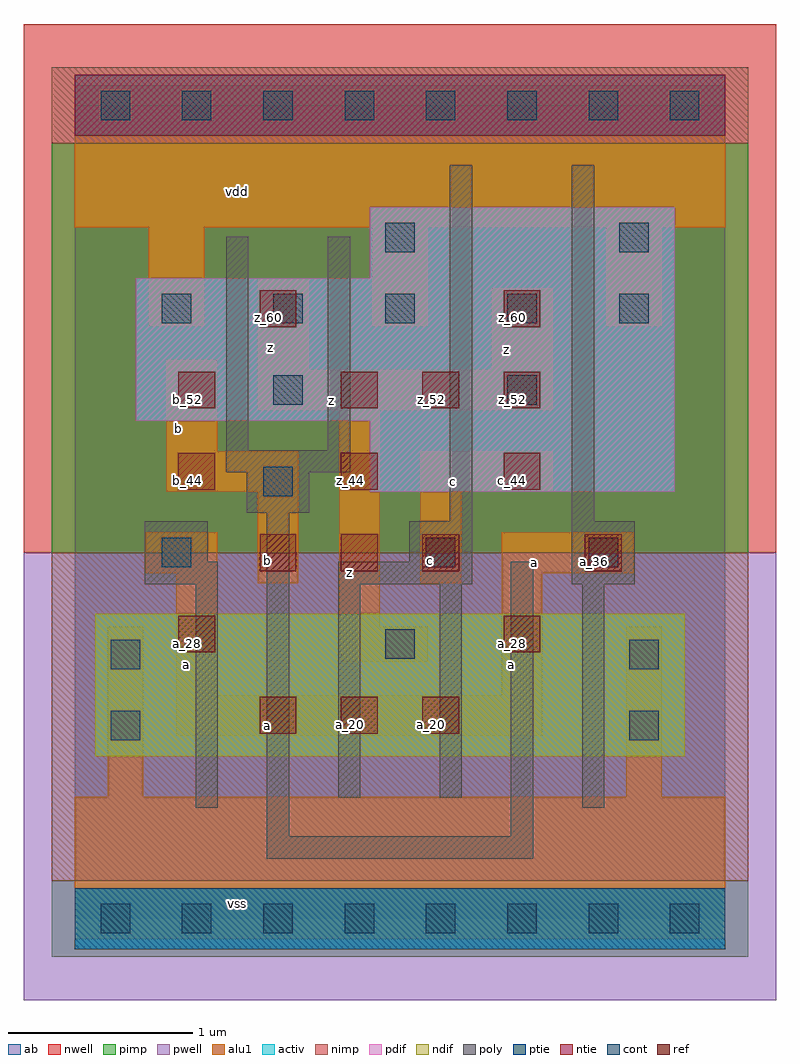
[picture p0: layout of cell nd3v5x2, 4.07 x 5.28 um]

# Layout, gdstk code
import gdstk
lib = gdstk.Library(unit=1e-6, precision=2.5e-09)
def R(c, l, rs):  # rectangles x0, y0, x1, y1
    for r in rs: c.add(gdstk.rectangle(r[:2], r[2:], *l))
def A(c, l, x, y, w, h, nx, ny, dx, dy):  # array of equal rectangles
    R(c, l, [(x+i*dx, y+j*dy, x+i*dx+w, y+j*dy+h) for i in range(nx) for j in range(ny)])
ndif = (3, 0)
pdif = (4, 0)
ntie = (5, 0)
ptie = (6, 0)
ref = (24, 0)
cont = (25, 0)
pwell = (41, 0)
nwell = (42, 0)
activ = (43, 0)
pimp = (44, 0)
nimp = (45, 0)
poly = (46, 0)
alu1 = (49, 0)
ab = (63, 0)

nd3v5x2 = lib.new_cell('nd3v5x2')
R(nd3v5x2, ndif, [(0.11,0.88,3.3,1.65)])
R(nd3v5x2, pdif, [(1.595,2.31,3.245,2.695), (0.33,2.695,3.245,3.465), (1.595,3.465,3.245,3.85)])
R(nd3v5x2, ntie, [(0,4.235,3.52,4.565)])
R(nd3v5x2, ptie, [(0,-0.165,3.52,0.165)])
A(nd3v5x2, ref, 1, 1, 0.2, 0.2, 3, 2, 0.44, 0.88)
A(nd3v5x2, ref, 0.56, 2.32, 0.2, 0.2, 3, 1, 0.88, 0)
A(nd3v5x2, ref, 1.44, 2.76, 0.2, 0.2, 3, 1, 0.44, 0)
R(nd3v5x2, ref, [(0.56,1.44,0.76,1.64), (2.32,1.44,2.52,1.64), (2.76,1.88,2.96,2.08), (0.56,2.76,0.76,2.96), (1,3.2,1.2,3.4), (2.32,3.2,2.52,3.4)])
A(nd3v5x2, cont, 0.14, -0.08, 0.16, 0.16, 8, 2, 0.44, 4.4)
A(nd3v5x2, cont, 0.47, 3.22, 0.16, 0.16, 3, 1, 0.605, 0)
R(nd3v5x2, cont, [(0.195,0.965,0.355,1.125), (3,0.965,3.16,1.125), (0.195,1.35,0.355,1.51), (3,1.35,3.16,1.51), (1.68,1.405,1.84,1.565), (0.47,1.9,0.63,2.06), (1.9,1.9,2.06,2.06), (2.78,1.9,2.94,2.06), (1.02,2.285,1.18,2.445), (1.075,2.78,1.235,2.94), (2.34,2.78,2.5,2.94), (2.34,3.22,2.5,3.38), (2.945,3.22,3.105,3.38), (1.68,3.605,1.84,3.765), (2.945,3.605,3.105,3.765)])
R(nd3v5x2, pwell, [(-0.275,-0.44,3.795,1.98)])
R(nd3v5x2, nwell, [(-0.275,1.98,3.795,4.84)])
R(nd3v5x2, activ, [(0,-0.165,3.52,0.165), (0.11,0.88,3.3,1.65), (1.595,2.31,3.245,2.695), (0.33,2.695,3.245,3.465), (1.595,3.465,3.245,3.85), (0,4.235,3.52,4.565)])
R(nd3v5x2, pimp, [(-0.125,-0.205,3.645,0.205), (-0.125,1.98,3.645,4.195)])
R(nd3v5x2, nimp, [(-0.125,0.205,3.645,1.98), (-0.125,4.195,3.645,4.605)])
R(nd3v5x2, poly, [(1.04,0.325,2.48,0.445), (1.04,0.445,1.16,2.195), (2.36,0.445,2.48,1.93), (0.655,0.6,0.775,1.81), (2.745,0.6,2.865,1.81), (1.425,0.655,1.545,1.81), (1.975,0.655,2.095,1.81), (0.38,1.81,0.775,1.93), (1.425,1.81,2.15,1.93), (2.69,1.81,3.03,2.15), (0.38,1.93,0.72,2.15), (1.81,1.93,2.15,2.15), (2.03,2.15,2.15,4.075), (2.69,2.15,2.81,4.075), (0.93,2.195,1.27,2.415), (0.82,2.415,1.49,2.535), (0.82,2.535,0.94,3.69), (1.37,2.535,1.49,3.69)])
R(nd3v5x2, alu1, [(0,-0.11,3.52,0.66), (0.18,0.66,0.37,1.58), (2.985,0.66,3.175,1.58), (0.55,0.99,2.53,1.21), (0.55,1.21,0.77,1.87), (2.31,1.21,2.53,1.87), (1.445,1.39,1.91,1.43), (1.43,1.43,1.91,1.58), (1.43,1.58,1.65,2.75), (0.99,1.815,1.21,2.31), (1.87,1.815,2.09,2.31), (0.385,1.87,0.77,2.09), (2.31,1.87,3.025,2.09), (0.495,2.31,1.21,2.53), (1.87,2.31,2.585,2.53), (0.495,2.53,0.77,3.025), (0.99,2.75,2.585,2.97), (0.99,2.97,1.265,3.465), (2.255,2.97,2.585,3.41), (0.4,3.205,0.7,3.74), (1.61,3.205,1.91,3.74), (2.875,3.205,3.175,3.74), (0,3.74,3.52,4.51)])
R(nd3v5x2, ab, [(0,0,3.52,4.4)])
nd3v5x2.add(gdstk.Label('vss', (0.88,0.0825), layer=49, texttype=0))
nd3v5x2.add(gdstk.Label('a', (1.045,1.045), layer=49, texttype=0))
nd3v5x2.add(gdstk.Label('a', (2.365,1.375), layer=49, texttype=0))
nd3v5x2.add(gdstk.Label('a', (2.4875,1.925), layer=49, texttype=0))
nd3v5x2.add(gdstk.Label('c', (1.925,1.9375), layer=49, texttype=0))
nd3v5x2.add(gdstk.Label('c', (2.0475,2.365), layer=49, texttype=0))
nd3v5x2.add(gdstk.Label('z', (1.485,1.8725), layer=49, texttype=0))
nd3v5x2.add(gdstk.Label('b', (1.045,1.9375), layer=49, texttype=0))
nd3v5x2.add(gdstk.Label('a', (0.605,1.375), layer=49, texttype=0))
nd3v5x2.add(gdstk.Label('z', (1.3875,2.805), layer=49, texttype=0))
nd3v5x2.add(gdstk.Label('z', (2.3375,3.08), layer=49, texttype=0))
nd3v5x2.add(gdstk.Label('z', (1.0575,3.0925), layer=49, texttype=0))
nd3v5x2.add(gdstk.Label('b', (0.5625,2.6525), layer=49, texttype=0))
nd3v5x2.add(gdstk.Label('vdd', (0.88,3.9325), layer=49, texttype=0))
nd3v5x2.add(gdstk.Label('z_60', (1.05,3.25), layer=24, texttype=0))
nd3v5x2.add(gdstk.Label('c_36', (1.93,1.93), layer=24, texttype=0))
nd3v5x2.add(gdstk.Label('a_28', (2.37,1.49), layer=24, texttype=0))
nd3v5x2.add(gdstk.Label('c_44', (2.37,2.37), layer=24, texttype=0))
nd3v5x2.add(gdstk.Label('z_52', (2.37,2.81), layer=24, texttype=0))
nd3v5x2.add(gdstk.Label('a_36', (2.81,1.93), layer=24, texttype=0))
nd3v5x2.add(gdstk.Label('z_60', (2.37,3.25), layer=24, texttype=0))
nd3v5x2.add(gdstk.Label('a_28', (0.61,1.49), layer=24, texttype=0))
nd3v5x2.add(gdstk.Label('a_20', (1.49,1.05), layer=24, texttype=0))
nd3v5x2.add(gdstk.Label('a_20', (1.05,1.05), layer=24, texttype=0))
nd3v5x2.add(gdstk.Label('a_20', (1.93,1.05), layer=24, texttype=0))
nd3v5x2.add(gdstk.Label('z_36', (1.49,1.93), layer=24, texttype=0))
nd3v5x2.add(gdstk.Label('z_44', (1.49,2.37), layer=24, texttype=0))
nd3v5x2.add(gdstk.Label('z_52', (1.49,2.81), layer=24, texttype=0))
nd3v5x2.add(gdstk.Label('b_44', (0.61,2.37), layer=24, texttype=0))
nd3v5x2.add(gdstk.Label('b_36', (1.05,1.93), layer=24, texttype=0))
nd3v5x2.add(gdstk.Label('z_52', (1.93,2.81), layer=24, texttype=0))
nd3v5x2.add(gdstk.Label('b_52', (0.61,2.81), layer=24, texttype=0))

lib.write_gds('nd3v5x2.gds')
